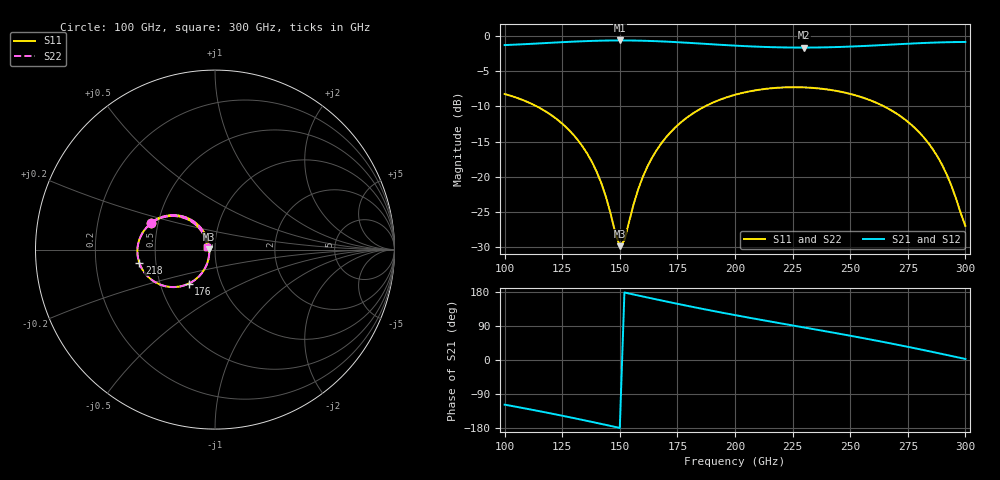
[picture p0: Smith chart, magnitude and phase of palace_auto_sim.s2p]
#  GHZ S DB R 50
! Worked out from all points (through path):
!   101 points, 100 GHz to 300 GHz, reference 50 ohm
!   highest |S21| = -0.64 dB at 150 GHz (marker M1); lowest = -1.6 dB at 230 GHz (marker M2)
!   group delay of S21, straight-line fit = 3.29 ps
!   lowest |S11| = -29.9 dB at 150 GHz (marker M3), VSWR 1.07, Z = 46.9 + j0.293 ohm
!   |S11| at or under -10 dB: 113.9 GHz to 187 GHz (73.08 GHz wide, 48.6 % of centre); 264.6 GHz to end of sweep
!   |S22| runs from -29.9 to -7.3 dB; largest |S21 - S12| = 1e-14
!   S11 on the Smith chart (normalised r, x): 100 GHz: 0.46, +0.16; 176 GHz: 0.70, -0.28; 218 GHz: 0.40, -0.07; 300 GHz: 0.92, +0.03
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100  -8.25 157.3  -1.29 -117.8  -1.29 -117.8  -8.25 157.4
120  -11.19 136.6  -0.97 -140.9  -0.97 -140.9  -11.19 136.7
128  -13.38 128.9  -0.83 -150.8  -0.83 -150.8  -13.38 129.0
134  -15.77 124.2  -0.75 -158.4  -0.75 -158.4  -15.77 124.3
142  -20.93 123.6  -0.67 -168.7  -0.67 -168.7  -20.93 123.6
150  -29.86 174.4  -0.64 -179.2  -0.64 -179.2  -29.90 174.5
152  -29.03 -154.0  -0.64 178.1  -0.64 178.1  -29.06 -153.8
156  -23.89 -124.9  -0.65 172.8  -0.65 172.8  -23.90 -124.7
160  -20.01 -118.7  -0.68 167.6  -0.68 167.6  -20.01 -118.6
168  -15.26 -120.9  -0.77 157.2  -0.77 157.2  -15.26 -120.7
176  -12.42 -127.7  -0.90 147.0  -0.90 147.0  -12.42 -127.6
186  -10.17 -137.7  -1.10 134.8  -1.10 134.8  -10.17 -137.6
200  -8.36 -152.1  -1.37 118.5  -1.37 118.5  -8.36 -152.0
218  -7.37 -170.2  -1.61 98.7  -1.61 98.7  -7.37 -170.1
230  -7.31 178.0  -1.65 85.8  -1.65 85.8  -7.31 178.1
234  -7.38 174.0  -1.64 81.5  -1.64 81.5  -7.38 174.2
252  -8.40 156.3  -1.48 61.8  -1.48 61.8  -8.40 156.4
268  -10.60 140.5  -1.22 43.3  -1.22 43.3  -10.59 140.7
278  -13.05 131.5  -1.06 31.0  -1.06 31.0  -13.05 131.7
286  -16.15 126.6  -0.95 20.9  -0.95 20.9  -16.15 126.8
292  -19.74 127.5  -0.89 13.1  -0.89 13.1  -19.74 127.7
300  -27.00 162.3  -0.85 2.7  -0.85 2.7  -27.00 162.4
